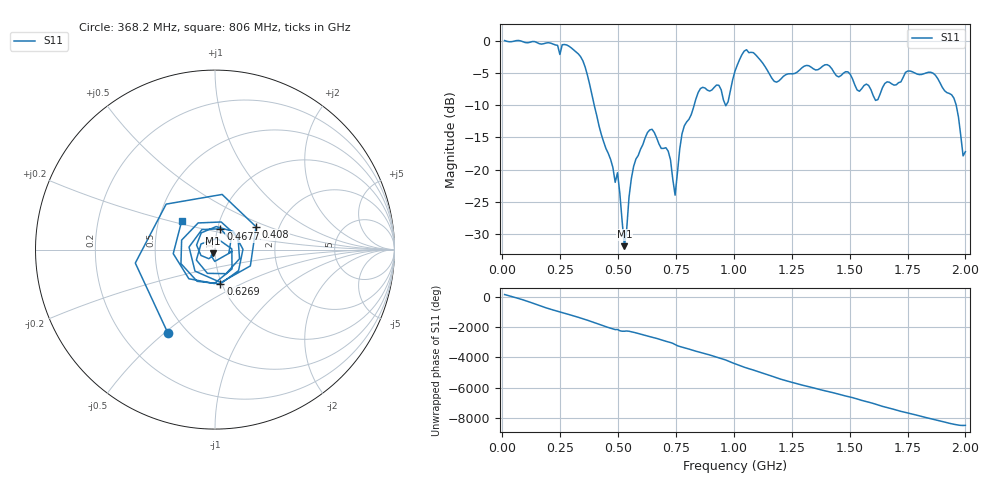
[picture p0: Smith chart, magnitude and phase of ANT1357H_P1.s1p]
!Created with skrf (http://scikit-rf.org).
# Hz S RI R 50.0
!freq ReS11 ImS11
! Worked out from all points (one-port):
!   201 points, 10 MHz to 2 GHz, reference 50 ohm
!   lowest |S11| = -31.9 dB at 527.4 MHz (marker M1), VSWR 1.05, Z = 48.6 - j2.08 ohm
!   |S11| at or under -10 dB: 396.9 MHz to 828.8 MHz (431.8 MHz wide, 70.5 % of centre); 963.9958 MHz to 966.9219 MHz (2.926 MHz wide, 0.303 % of centre); 1.96 GHz to end of sweep
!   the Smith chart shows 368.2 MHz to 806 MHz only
!   S11 on the Smith chart (normalised r, x): 368.2 MHz: 0.39, -0.51; 408 MHz: 1.52, +0.42; 467.7 MHz: 1.03, +0.24; 626.9 MHz: 0.98, -0.39; 806 MHz: 0.66, +0.22
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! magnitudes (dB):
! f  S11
! 10 MHz  0.0
! 258.8 MHz  -0.6
! 368.2 MHz  -5.4
! 408 MHz  -11.6
! 467.7 MHz  -18.4
! 507.5 MHz  -23.6
! 527.4 MHz  -31.9
! 567.2 MHz  -19.5
! 626.9 MHz  -14.3
! 716.5 MHz  -17.1
! 746.3 MHz  -24.0
! 756.2 MHz  -20.6
! 776.1 MHz  -14.5
! 806 MHz  -12.2
! 865.7 MHz  -7.3
! 935.4 MHz  -6.9
! 965.2 MHz  -10.1
! 1.005 GHz  -4.7
! 1.055 GHz  -1.4
! 1.174 GHz  -6.3
! 1.254 GHz  -5.2
! 1.502 GHz  -5.2
! 1.612 GHz  -9.3
! 1.751 GHz  -4.7
! 1.94 GHz  -8.4
! 1.97 GHz  -11.9
! 1.99 GHz  -17.9
! 2 GHz  -17.2
